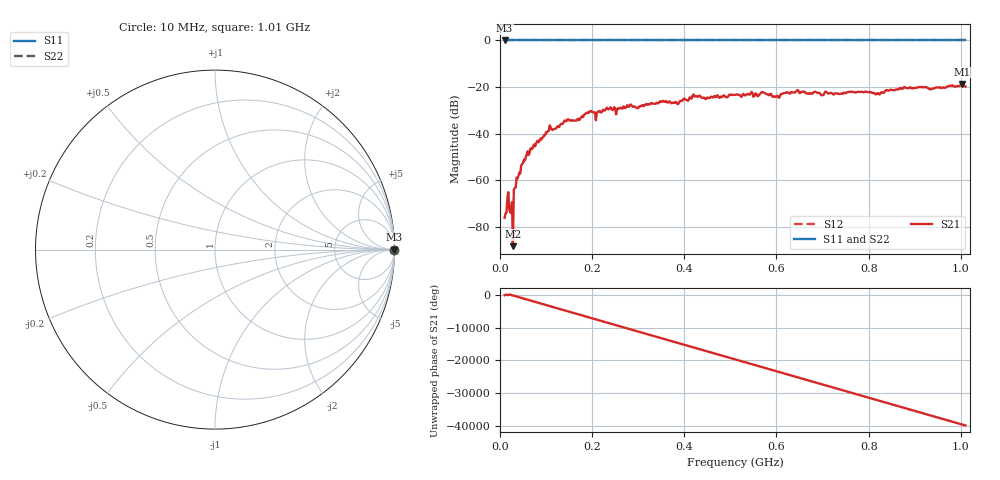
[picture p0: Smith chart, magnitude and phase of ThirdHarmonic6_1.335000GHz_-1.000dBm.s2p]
! 8/16/2025 2:57:12 PM
! C:\ANRITSUVNA\TEMP\TEMP.S2P
! CHANNEL.1
! TR.MEASUREMENT
! RAW.DATA
! RF.CORRECTION.OFF
! AVERAGING.OFF
! IF.BANDWIDTH: 5KHZ
! SWEEPTYPE:  FREQ.SWEEP(Linear)
! Reference Plane Port Info
! PORT:  PORT1  PORT2
! DISTANCE:  0  m  0  m
! TIME:  0  s  0  s
! PHASE.OFFSET:  0  deg.  0  deg.
! LOSS:  0  dB  0  dB
! REF.LOSS:  0  dB  0  dB
! REF.FREQ:  0  Hz  0  Hz
! Power Info
! POWER:  -20  dBm  -20  dBm
! EFF.POWER:  -20  dBm  -20  dBm
! SOURCE.ATTEN:  0  dB  0  dB
! TEST.ATTEN:  0  dB  0  dB
# GHZ S RI R 50.0
! FREQ.GHZ  S11RE  S11IM  S21RE  S21IM  S12RE  S12IM  S22RE  S22IM
!; PortSelection: Port_12
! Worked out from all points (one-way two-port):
!   501 points, 10 MHz to 1.01 GHz, reference 50 ohm
!   highest |S21| = -18.75 dB at 1.002 GHz (marker M1); lowest = -88.4 dB at 28 MHz (marker M2)
!   lowest |S11| = 0.0 dB at 10 MHz (marker M3)
!   |S11| at or under -10 dB: nowhere
!   |S22| runs from 0.0 to 0.0 dB; largest |S21 - S12| = 1.1
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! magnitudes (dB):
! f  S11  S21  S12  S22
! 10 MHz  0.0  -76.2  0.0  0.0
! 16 MHz  0.0  -67.9  0.0  0.0
! 22 MHz  0.0  -73.9  0.0  0.0
! 24 MHz  0.0  -74.1  0.0  0.0
! 28 MHz  0.0  -88.4  0.0  0.0
! 32 MHz  0.0  -63.5  0.0  0.0
! 34 MHz  0.0  -63.2  0.0  0.0
! 40 MHz  0.0  -58.2  0.0  0.0
! 56 MHz  0.0  -50.2  0.0  0.0
! 70 MHz  0.0  -46.7  0.0  0.0
! 108 MHz  0.0  -36.5  0.0  0.0
! 178 MHz  0.0  -32.6  0.0  0.0
! 194 MHz  0.0  -30.7  0.0  0.0
! 344 MHz  0.0  -27.0  0.0  0.0
! 384 MHz  0.0  -27.1  0.0  0.0
! 422 MHz  0.0  -24.1  0.0  0.0
! 510 MHz  0.0  -23.4  0.0  0.0
! 678 MHz  0.0  -22.9  0.0  0.0
! 820 MHz  0.0  -22.6  0.0  0.0
! 844 MHz  0.0  -21.5  0.0  0.0
! 1.002 GHz  0.0  -18.8  0.0  0.0
! 1.01 GHz  0.0  -19.8  0.0  0.0
